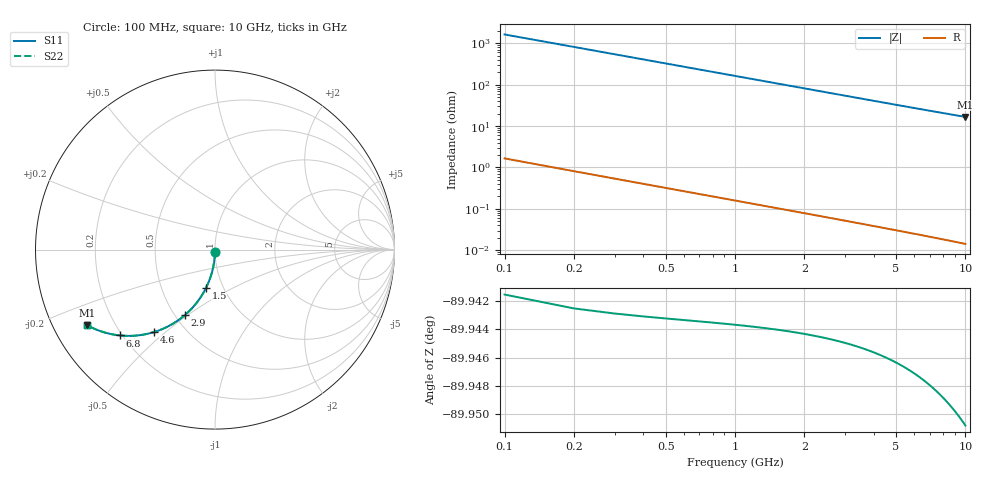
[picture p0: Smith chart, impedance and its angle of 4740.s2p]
# Hz S RI R 50.00
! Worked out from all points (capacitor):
!   100 points, 100 MHz to 10 GHz, reference 50 ohm
!   read as one part in shunt: C = 981 fF near 100 MHz
!   lowest |Z| = 16.6 ohm at 10 GHz (marker M1)
!   S11 on the Smith chart (normalised r, x): 100 MHz: 1.00, -0.03; 1.5 GHz: 0.83, -0.37; 2.9 GHz: 0.56, -0.49; 4.6 GHz: 0.34, -0.46; 6.8 GHz: 0.19, -0.37; 10 GHz: 0.10, -0.27
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1e8  -0.000172 -0.0151  0.9997 -0.0157  0.9997 -0.0157  -0.000172 -0.0151
2e8  -0.000898 -0.0302  0.9989 -0.0314  0.9989 -0.0314  -0.000898 -0.0302
3e8  -0.0021 -0.0453  0.9977 -0.047  0.9977 -0.047  -0.0021 -0.0453
4e8  -0.00376 -0.0603  0.9961 -0.0626  0.9961 -0.0626  -0.00376 -0.0603
5e8  -0.0059 -0.0752  0.9939 -0.0781  0.9939 -0.0781  -0.0059 -0.0752
6e8  -0.00849 -0.0899  0.9913 -0.0934  0.9913 -0.0934  -0.00849 -0.0899
7e8  -0.0115 -0.1046  0.9883 -0.1087  0.9883 -0.1087  -0.0115 -0.1046
9e8  -0.0189 -0.1335  0.9809 -0.1387  0.9809 -0.1387  -0.0189 -0.1335
1.2e9  -0.0332 -0.1754  0.9666 -0.1824  0.9666 -0.1824  -0.0332 -0.1754
1.5e9  -0.0509 -0.2152  0.9489 -0.2239  0.9489 -0.2239  -0.0509 -0.2152
1.8e9  -0.0718 -0.2525  0.928 -0.263  0.928 -0.263  -0.0718 -0.2525
2.3e9  -0.1122 -0.3085  0.8876 -0.322  0.8876 -0.322  -0.1122 -0.3085
2.9e9  -0.1674 -0.3645  0.8322 -0.3815  0.8322 -0.3815  -0.1674 -0.3645
3.4e9  -0.2168 -0.4017  0.7828 -0.4217  0.7828 -0.4217  -0.2168 -0.4017
4e9  -0.2774 -0.4355  0.7221 -0.4591  0.7221 -0.4591  -0.2774 -0.4355
4.6e9  -0.3372 -0.4588  0.6622 -0.4859  0.6622 -0.4859  -0.3372 -0.4588
5.1e9  -0.3853 -0.4711  0.6141 -0.5013  0.6141 -0.5013  -0.3853 -0.4711
5.9e9  -0.457 -0.4801  0.5422 -0.5152  0.5422 -0.5152  -0.457 -0.4801
6.7e9  -0.5214 -0.479  0.4776 -0.519  0.4776 -0.519  -0.5214 -0.479
6.8e9  -0.5289 -0.4783  0.4701 -0.5189  0.4701 -0.5189  -0.5289 -0.4783
8.4e9  -0.6333 -0.4559  0.3652 -0.5065  0.3652 -0.5065  -0.6333 -0.4559
1e10  -0.7118 -0.4215  0.2862 -0.4823  0.2862 -0.4823  -0.7118 -0.4215
